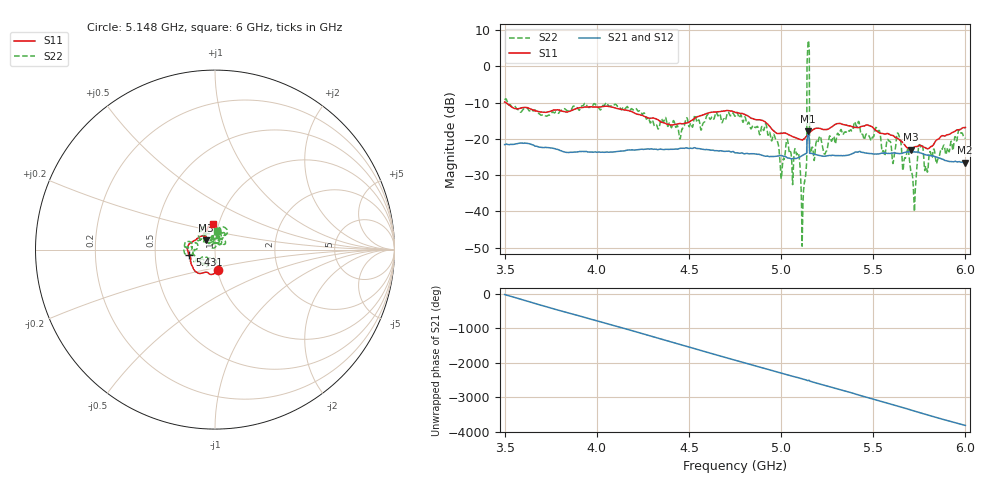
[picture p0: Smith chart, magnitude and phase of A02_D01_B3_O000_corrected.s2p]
! Created with skrf 1.9.0 (http://scikit-rf.org).
# Hz S RI R 50.0
!freq ReS11 ImS11 ReS21 ImS21 ReS12 ImS12 ReS22 ImS22
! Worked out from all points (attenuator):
!   1601 points, 3.5 GHz to 6 GHz, reference 50 ohm
!   highest |S21| = -17.92 dB at 5.147 GHz (marker M1); lowest = -26.6 dB at 5.997 GHz (marker M2)
!   lowest |S11| = -23.0 dB at 5.706 GHz (marker M3), VSWR 1.15, Z = 45.1 + j4.68 ohm
!   |S11| at or under -10 dB: 3.506 GHz to end of sweep
!   |S22| runs from -49.6 to 7.2 dB; largest |S21 - S12| = 0.002
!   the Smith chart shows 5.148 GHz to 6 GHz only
!   S11 on the Smith chart (normalised r, x): 5.148 GHz: 1.00, -0.23; 5.431 GHz: 0.75, -0.05; 6 GHz: 0.94, +0.28
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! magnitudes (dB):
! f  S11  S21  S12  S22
! 3.5 GHz  -9.8  -21.6  -21.6  -9.2
! 3.917 GHz  -11.4  -23.5  -23.5  -11.0
! 4.334 GHz  -14.8  -23.0  -22.9  -17.3
! 4.75 GHz  -12.7  -23.8  -23.8  -13.8
! 4.967 GHz  -18.1  -24.8  -24.8  -19.7
! 5.005 GHz  -18.4  -24.6  -24.7  -28.5
! 5.086 GHz  -19.9  -25.4  -25.4  -24.3
! 5.119 GHz  -20.2  -24.5  -24.4  -37.7
! 5.127 GHz  -19.9  -24.3  -24.3  -31.9
! 5.141 GHz  -19.2  -20.6  -20.6  0.6
! 5.147 GHz  -18.8  -17.9  -17.9  6.9
! 5.148 GHz  -18.7  -17.9  -18.0  7.2
! 5.167 GHz  -17.7  -24.0  -24.0  -22.4
! 5.431 GHz  -16.7  -23.6  -23.6  -18.2
! 5.584 GHz  -18.7  -24.0  -24.0  -20.5
! 5.639 GHz  -20.1  -24.1  -24.1  -19.0
! 5.706 GHz  -23.0  -23.6  -23.6  -29.3
! 5.725 GHz  -22.2  -23.6  -23.6  -38.5
! 5.756 GHz  -21.8  -23.9  -23.9  -22.2
! 5.787 GHz  -22.6  -24.5  -24.4  -27.6
! 5.997 GHz  -16.9  -26.6  -26.6  -19.8
! 6 GHz  -16.9  -26.6  -26.6  -19.7
